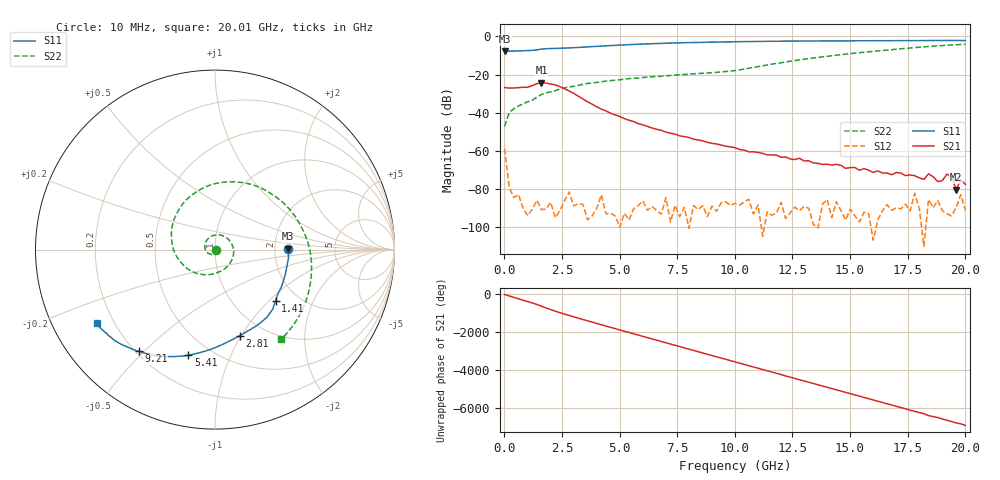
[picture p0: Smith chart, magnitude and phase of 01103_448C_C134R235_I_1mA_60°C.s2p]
!;Filter: kein Filter
!auto
!3/21/2019 9:26:39 AM
!3/21/2019 9:26:51 AM
!SP-Measurements Prober G4
!SP-Measurements Prober G4
!01103_448C
!134
!235
!12
!60
!-20
!0.00099996
!1.65
!0.05816927
!0.05816927
# Hz S  RI  R 50
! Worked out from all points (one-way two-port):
!   101 points, 10 MHz to 20.01 GHz, reference 50 ohm
!   highest |S21| = -24.31 dB at 1.61 GHz (marker M1); lowest = -80.2 dB at 19.61 GHz (marker M2)
!   lowest |S11| = -7.8 dB at 10 MHz (marker M3), VSWR 2.38, Z = 119 + j1.68 ohm
!   |S11| at or under -10 dB: nowhere
!   |S22| runs from -47.2 to -4.1 dB; largest |S21 - S12| = 0.061
!   S11 on the Smith chart (normalised r, x): 10 MHz: 2.38, +0.03; 1.41 GHz: 1.55, -1.10; 2.81 GHz: 0.77, -0.99; 5.41 GHz: 0.38, -0.71; 9.21 GHz: 0.21, -0.48; 20.01 GHz: 0.14, -0.28
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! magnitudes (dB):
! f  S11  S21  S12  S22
! 10 MHz  -7.8  -26.8  -58.9  -47.2
! 210 MHz  -7.7  -27.1  -79.2  -40.0
! 1.41 GHz  -7.1  -24.8  -85.9  -31.9
! 1.61 GHz  -6.7  -24.3  -90.7  -30.4
! 2.81 GHz  -6.0  -28.6  -81.5  -26.6
! 3.41 GHz  -5.7  -32.8  -88.0  -25.1
! 5.41 GHz  -4.3  -43.9  -96.2  -22.1
! 6.81 GHz  -3.7  -49.2  -93.1  -20.9
! 9.21 GHz  -3.0  -56.4  -91.6  -18.8
! 10.01 GHz  -2.8  -58.3  -87.5  -17.9
! 13.41 GHz  -2.4  -66.3  -98.5  -11.3
! 16.81 GHz  -2.3  -72.5  -91.1  -7.0
! 17.21 GHz  -2.2  -71.6  -90.3  -6.5
! 18.21 GHz  -2.2  -75.0  -109.9  -5.5
! 18.41 GHz  -2.2  -72.0  -85.5  -5.3
! 18.81 GHz  -2.2  -76.1  -86.0  -5.0
! 19.01 GHz  -2.2  -75.5  -91.3  -4.8
! 19.21 GHz  -2.2  -72.2  -92.9  -4.7
! 19.41 GHz  -2.1  -73.6  -94.0  -4.5
! 19.61 GHz  -2.2  -80.2  -89.6  -4.4
! 19.81 GHz  -2.2  -75.2  -82.9  -4.3
! 20.01 GHz  -2.2  -77.5  -91.2  -4.1
